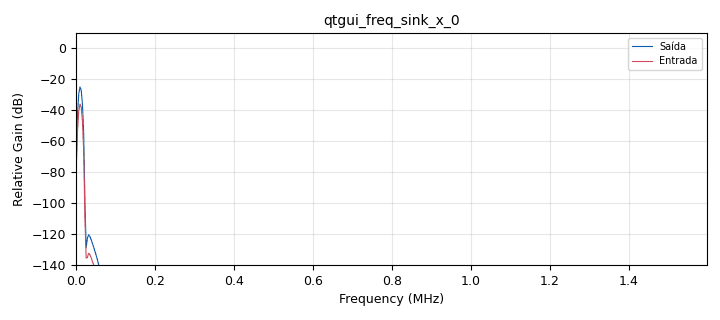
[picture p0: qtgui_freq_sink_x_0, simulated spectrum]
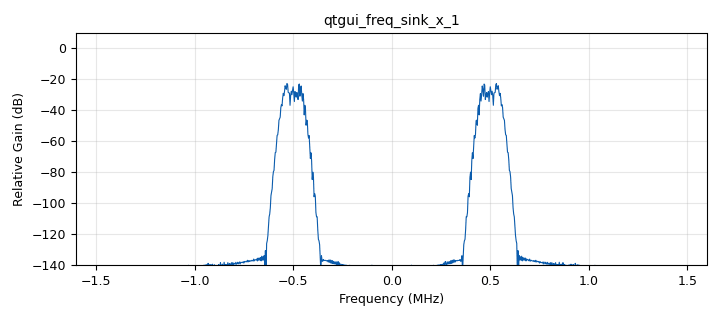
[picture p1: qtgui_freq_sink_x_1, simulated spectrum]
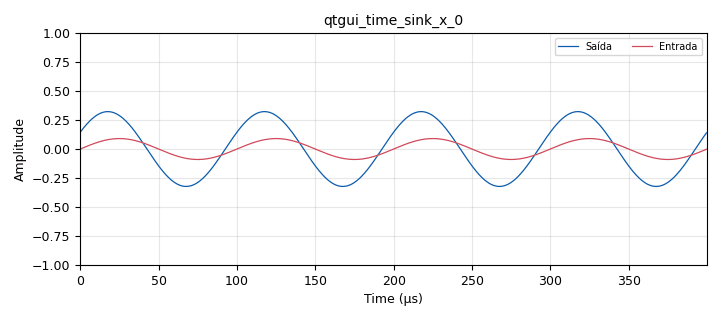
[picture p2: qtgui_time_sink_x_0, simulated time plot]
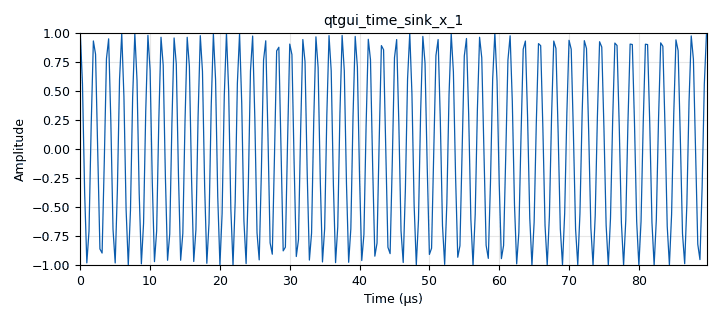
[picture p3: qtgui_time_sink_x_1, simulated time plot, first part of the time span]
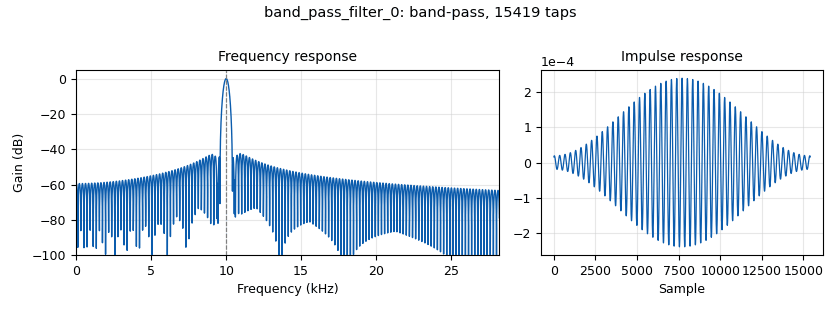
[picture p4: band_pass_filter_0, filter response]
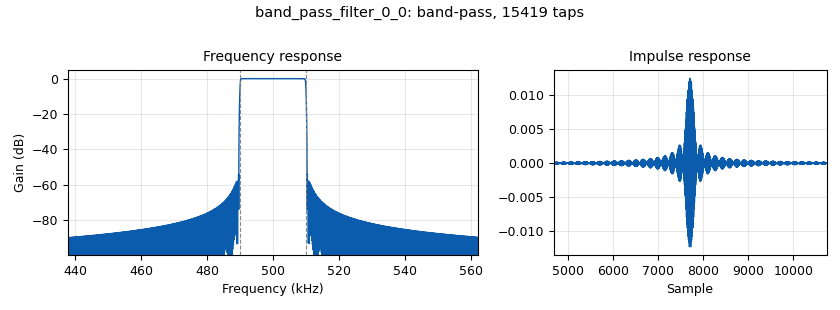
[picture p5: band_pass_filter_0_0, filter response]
options:
  parameters:
    author: luso
    generate_options: qt_gui
    id: quad_demodgrc
    output_language: python
    run_options: run
    title: Not titled yet
  states: {}

blocks:
- name: Ganho_discriminador
  id: variable_qtgui_range
  parameters:
    gui_hint: 0,2
    label: Discriminator Gain
    min_len: '50'
    start: '0'
    step: '1'
    stop: '100'
    value: '10'
    widget: dial
  states: {}
- name: amplitude
  id: variable_qtgui_range
  parameters:
    gui_hint: 0,1
    label: Amplitude
    min_len: '10'
    start: '0'
    step: '.01'
    stop: '0.1'
    value: '0.09'
  states: {}
- name: coeff
  id: variable_qtgui_range
  parameters:
    gui_hint: ' 0,3'
    label: RC Coefficient
    min_len: '20'
    start: '0.1'
    step: '.05'
    stop: '1'
    value: '0.15'
  states: {}
- name: duration
  id: variable
  parameters:
    value: '1'
  states: {}
- name: f_c
  id: variable
  parameters:
    value: '500000'
  states: {}
- name: freq
  id: variable_qtgui_range
  parameters:
    gui_hint: 0,0
    label: Frequency
    min_len: '10'
    start: '1000'
    step: '10000'
    stop: '100000'
    value: '10000'
  states: {}
- name: mode
  id: variable_qtgui_chooser
  parameters:
    gui_hint: ' 0,4'
    label: Rectifier
    label0: Halfwave
    label1: 'Fullwave '
    labels: '[1, 2]'
    num_opts: '2'
    option0: '0'
    option1: '1'
    options: '[1, 2]'
    type: int
    value: '1'
    widget: radio_buttons
  states: {}
- name: samp_rate
  id: variable
  parameters:
    value: '3200000'
  states: {}
- name: threshold
  id: variable_qtgui_range
  parameters:
    gui_hint: 0,5
    label: Threshold
    min_len: '6'
    start: '0'
    step: '1'
    stop: '5'
    value: '0'
  states: {}
- name: analog_fm_demod_cf_0
  id: analog_fm_demod_cf
  parameters:
    audio_decim: '1'
    audio_pass: freq/100
    audio_stop: freq+freq/100
    chan_rate: '500000'
    deviation: freq
    gain: '1.0'
    tau: '0'
  states: {state: disabled}
- name: analog_sig_source_x_0_0
  id: analog_sig_source_x
  parameters:
    amp: amplitude
    freq: freq
    offset: '0'
    phase: '0'
    samp_rate: samp_rate
    type: float
    waveform: analog.GR_SIN_WAVE
  states: {}
- name: band_pass_filter_0
  id: band_pass_filter
  parameters:
    decim: '1'
    gain: '1'
    high_cutoff_freq: freq+(freq/1000*amplitude)
    low_cutoff_freq: freq-(freq/1000*amplitude)
    samp_rate: samp_rate
    type: fir_filter_fff
    width: freq/20
    win: window.WIN_HAMMING
  states: {}
- name: band_pass_filter_0_0
  id: band_pass_filter
  parameters:
    gain: '1'
    high_cutoff_freq: f_c+freq
    interp: '1'
    low_cutoff_freq: f_c-freq
    samp_rate: samp_rate
    type: interp_fir_filter_fff
    width: freq/20
    win: window.WIN_HAMMING
  states: {}
- name: band_pass_filter_0_1
  id: band_pass_filter
  parameters:
    decim: '1'
    gain: '1'
    high_cutoff_freq: freq+(freq/1000*amplitude)
    low_cutoff_freq: freq-(freq/1000*amplitude)
    samp_rate: samp_rate
    type: fir_filter_fff
    width: freq/20
    win: window.WIN_HAMMING
  states: {}
- name: band_pass_filter_1
  id: band_pass_filter
  parameters:
    decim: round(samp_rate/f_c)
    gain: '1'
    high_cutoff_freq: f_c+freq
    low_cutoff_freq: f_c-freq
    samp_rate: samp_rate
    type: fir_filter_fcc
    width: '1'
    win: window.WIN_HAMMING
  states: {state: disabled}
- name: blocks_add_const_vxx_0
  id: blocks_add_const_vxx
  parameters:
    const: '1'
    type: float
  states: {}
- name: blocks_delay_0
  id: blocks_delay
  parameters:
    delay: '4'
    type: float
  states: {}
- name: blocks_divide_xx_0
  id: blocks_divide_xx
  parameters:
    type: float
  states: {}
- name: blocks_multiply_const_vxx_0
  id: blocks_multiply_const_vxx
  parameters:
    const: Ganho_discriminador
    type: float
  states: {}
- name: blocks_throttle2_0
  id: blocks_throttle2
  parameters:
    samples_per_second: samp_rate
    type: float
  states: {}
- name: blocks_transcendental_0
  id: blocks_transcendental
  parameters:
    name: atan
    type: float
  states: {}
- name: blocks_vco_f_0
  id: blocks_vco_f
  parameters:
    amplitude: '1'
    samp_rate: samp_rate
    sensitivity: 2*np.pi*f_c
  states: {}
- name: epy_block_0
  id: epy_block
  parameters:
    _source_code: |
      """
      Embedded Python Blocks:

      Each time this file is saved, GRC will instantiate the first class it finds
      to get ports and parameters of your block. The arguments to __init__ will
      be the parameters. All of them are required to have default values!
      """

      import numpy as np
      from gnuradio import gr

      class blk(gr.sync_block):  # other base classes are basic_block, decim_block, interp_block
          def __init__(self, threshold=0.0, mode=0, coeff=0.15):  # only default arguments here
              gr.sync_block.__init__(
                  self,
                  name='Envelope Detector',   # will show up in GRC
                  in_sig=[np.float32],
                  out_sig=[np.float32]
              )
              # if an attribute with the same name as a parameter is found,
              # a callback is registered (properties work, too).
              self.ry = 0
              self.threshold = threshold
              self.mode = mode
              self.coeff = coeff

          def work(self, input_items, output_items):
              """Envelope Detect with Half/Full Wave Rectifier"""
              buf = [0] * len(input_items[0])
              a0 = self.coeff
              b1 = 1 - a0

              for i in range(len(input_items[0])):
                  if self.mode == 1:
                      buf[i] = abs(input_items[0][i])
                  else:
                      if input_items[0][i] > self.threshold:
                          buf[i] = input_items[0][i]
                      else:
                          buf[i] = 0

              for i in range(len(output_items[0])):
                  if i == 0:
                      output_items[0][i] = a0 * buf[i] + b1 * self.ry
                  else:
                      output_items[0][i] = a0 * buf[i] + b1 * output_items[0][i - 1]

              i = len(output_items[0]) - 1
              self.ry = output_items[0][i]
              return len(output_items[0])
    coeff: coeff
    mode: mode
    threshold: threshold
  states: {}
- name: import_0
  id: import
  parameters:
    imports: import numpy as np
  states: {}
- name: qtgui_freq_sink_x_0
  id: qtgui_freq_sink_x
  parameters:
    bw: samp_rate
    ctrlpanel: 'True'
    fc: '0'
    fftsize: '1024'
    freqhalf: 'False'
    gui_hint: tab@1
    label1: Saída
    label2: Entrada
    nconnections: '2'
    type: float
  states: {}
- name: qtgui_freq_sink_x_0_0
  id: qtgui_freq_sink_x
  parameters:
    bw: samp_rate
    ctrlpanel: 'True'
    fc: '0'
    fftsize: '1024'
    freqhalf: 'False'
    gui_hint: tab@1
    label1: Saída
    label2: Entrada
    nconnections: '2'
    type: float
  states: {state: disabled}
- name: qtgui_freq_sink_x_1
  id: qtgui_freq_sink_x
  parameters:
    bw: samp_rate
    ctrlpanel: 'True'
    fc: '0'
    fftsize: '1024'
    gui_hint: tab@0
    type: float
  states: {}
- name: qtgui_time_sink_x_0
  id: qtgui_time_sink_x
  parameters:
    ctrlpanel: 'True'
    gui_hint: tab@1
    label1: Saída
    label2: Entrada
    nconnections: '2'
    size: round(4*samp_rate/freq)
    srate: samp_rate
    type: float
  states: {}
- name: qtgui_time_sink_x_0_0
  id: qtgui_time_sink_x
  parameters:
    ctrlpanel: 'True'
    gui_hint: tab@1
    label1: Saída
    label2: Entrada
    nconnections: '2'
    size: round(4*samp_rate/freq)
    srate: samp_rate
    type: float
  states: {state: disabled}
- name: qtgui_time_sink_x_1
  id: qtgui_time_sink_x
  parameters:
    ctrlpanel: 'True'
    gui_hint: tab@0
    size: round(5*samp_rate/freq)
    srate: samp_rate
    type: float
  states: {}
- name: tab
  id: qtgui_tab_widget
  parameters:
    label0: VCO
    label1: Envelope
    num_tabs: '2'
  states: {}
- name: virtual_sink_0
  id: virtual_sink
  parameters:
    stream_id: original_source
  states: {}
- name: virtual_sink_1
  id: virtual_sink
  parameters:
    stream_id: discriminator
  states: {}
- name: virtual_sink_2
  id: virtual_sink
  parameters:
    stream_id: VCO
  states: {}
- name: virtual_source_0
  id: virtual_source
  parameters:
    stream_id: original_source
  states: {}
- name: virtual_source_0_0
  id: virtual_source
  parameters:
    stream_id: original_source
  states: {state: disabled}
- name: virtual_source_1
  id: virtual_source
  parameters:
    stream_id: discriminator
  states: {}
- name: virtual_source_2
  id: virtual_source
  parameters:
    stream_id: VCO
  states: {}
- name: virtual_source_2_0
  id: virtual_source
  parameters:
    stream_id: VCO
  states: {state: disabled}

connections:
- [analog_fm_demod_cf_0, '0', qtgui_freq_sink_x_0_0, '1']
- [analog_fm_demod_cf_0, '0', qtgui_time_sink_x_0_0, '1']
- [analog_sig_source_x_0_0, '0', blocks_add_const_vxx_0, '0']
- [analog_sig_source_x_0_0, '0', virtual_sink_0, '0']
- [band_pass_filter_0, '0', band_pass_filter_0_1, '0']
- [band_pass_filter_0_0, '0', blocks_delay_0, '0']
- [band_pass_filter_0_1, '0', qtgui_freq_sink_x_0, '0']
- [band_pass_filter_0_1, '0', qtgui_time_sink_x_0, '0']
- [band_pass_filter_1, '0', analog_fm_demod_cf_0, '0']
- [blocks_add_const_vxx_0, '0', blocks_vco_f_0, '0']
- [blocks_delay_0, '0', blocks_divide_xx_0, '1']
- [blocks_divide_xx_0, '0', blocks_transcendental_0, '0']
- [blocks_multiply_const_vxx_0, '0', blocks_throttle2_0, '0']
- [blocks_throttle2_0, '0', virtual_sink_1, '0']
- [blocks_transcendental_0, '0', blocks_multiply_const_vxx_0, '0']
- [blocks_vco_f_0, '0', qtgui_freq_sink_x_1, '0']
- [blocks_vco_f_0, '0', qtgui_time_sink_x_1, '0']
- [blocks_vco_f_0, '0', virtual_sink_2, '0']
- [epy_block_0, '0', band_pass_filter_0, '0']
- [virtual_source_0, '0', qtgui_freq_sink_x_0, '1']
- [virtual_source_0, '0', qtgui_time_sink_x_0, '1']
- [virtual_source_0_0, '0', qtgui_freq_sink_x_0_0, '0']
- [virtual_source_0_0, '0', qtgui_time_sink_x_0_0, '0']
- [virtual_source_1, '0', epy_block_0, '0']
- [virtual_source_2, '0', band_pass_filter_0_0, '0']
- [virtual_source_2, '0', blocks_divide_xx_0, '0']
- [virtual_source_2_0, '0', band_pass_filter_1, '0']

metadata:
  file_format: 1
  grc_version: 3.10.10.0
